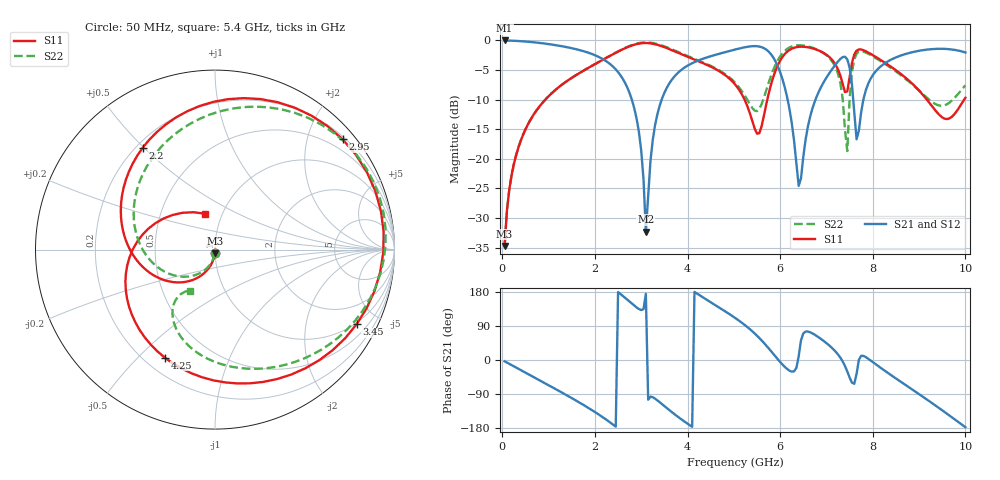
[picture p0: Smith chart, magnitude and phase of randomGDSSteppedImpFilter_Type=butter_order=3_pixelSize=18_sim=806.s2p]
! freq	dB(S11)	phase(S11)	dB(S12)	phase(S12)
!  dB(S21)	phase(S21)	dB(S22)	phase(S22)
!S-par simulation data
#  GHz  S  DB  R 50
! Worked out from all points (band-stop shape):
!   200 points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, 50 MHz to 10 GHz, reference 50 ohm
!   highest |S21| = -0.01 dB at 50 MHz (marker M1); lowest = -32.3 dB at 3.1 GHz (marker M2)
!   |S21| within 3 dB of the highest: start of sweep to 2.137 GHz; 8.459 GHz to end of sweep (the widest 2 of 4)
!   lowest |S11| = -34.7 dB at 50 MHz (marker M3), VSWR 1.04, Z = 49.9 - j1.83 ohm
!   |S11| at or under -10 dB: start of sweep to 928.4 MHz; 5.23 GHz to 5.723 GHz (492.4 MHz wide, 8.99 % of centre); 9.168 GHz to 9.974 GHz (806 MHz wide, 8.42 % of centre)
!   |S22| runs from -34.7 to -0.3 dB; largest |S21 - S12| = 0
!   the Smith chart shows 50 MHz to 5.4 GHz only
!   S11 on the Smith chart (normalised r, x): 50 MHz: 1.00, -0.04; 2.2 GHz: 0.23, +0.50; 2.95 GHz: 0.25, +2.67; 3.45 GHz: 0.94, -3.82; 4.25 GHz: 0.28, -0.60; 5.4 GHz: 0.83, +0.35
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0.05  -34.73 -93.0  -0.01 -3.4  -0.01 -3.4  -34.74 -93.7
0.5  -15.03 -120.5  -0.19 -33.4  -0.19 -33.4  -15.04 -127.3
1.75  -5.12 160.8  -1.81 -118.3  -1.81 -118.3  -5.12 140.7
2.2  -3.15 125.3  -3.29 -153.5  -3.29 -153.5  -3.13 105.2
2.95  -0.54 40.8  -15.46 134.5  -15.46 134.5  -0.45 33.7
3.1  -0.44 20.0  -32.27 174.6  -32.27 174.6  -0.33 17.6
3.4  -0.86 -21.3  -10.98 -111.5  -10.98 -111.5  -0.73 -13.0
3.45  -0.99 -27.8  -9.81 -116.6  -9.81 -116.6  -0.86 -17.7
4.25  -3.56 -114.9  -3.33 171.7  -3.33 171.7  -3.43 -78.2
5.05  -7.66 168.8  -1.49 109.1  -1.49 109.1  -7.34 -123.5
5.4  -13.63 105.7  -0.97 75.6  -0.97 75.6  -11.44 -121.7
5.75  -9.06 -43.7  -1.88 31.1  -1.88 31.1  -7.19 -90.6
6.05  -2.79 -106.2  -6.54 -12.0  -6.54 -12.0  -2.17 -117.7
6.4  -1.08 -156.4  -24.56 9.7  -24.56 9.7  -0.82 -158.5
6.7  -1.34 172.2  -11.42 70.0  -11.42 70.0  -1.24 170.2
7.15  -3.55 133.1  -4.55 28.2  -4.55 28.2  -3.87 120.9
7.45  -8.61 150.8  -3.20 -30.3  -3.20 -30.3  -18.69 167.4
7.65  -1.73 138.5  -16.70 -36.7  -16.70 -36.7  -2.26 143.6
7.9  -2.04 105.0  -7.33 3.5  -7.33 3.5  -2.24 97.0
8.35  -4.21 67.4  -3.43 -36.1  -3.43 -36.1  -4.42 47.7
9.15  -9.83 -6.0  -1.57 -102.7  -1.57 -102.7  -9.55 -6.6
10  -9.68 -169.8  -2.03 -177.3  -2.03 -177.3  -7.58 -7.2
